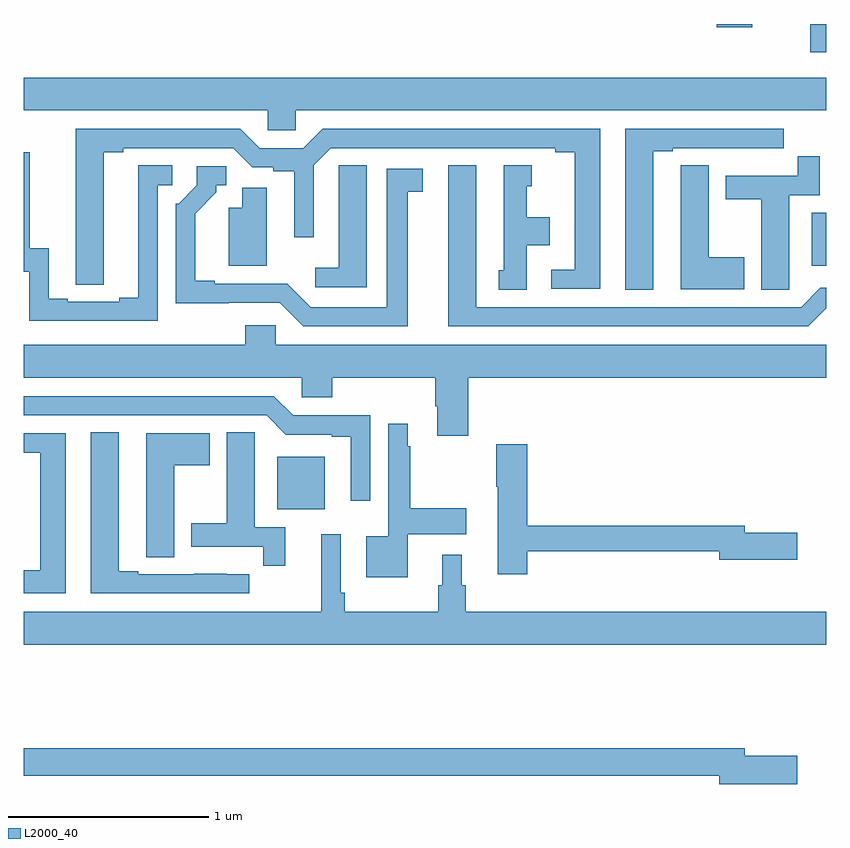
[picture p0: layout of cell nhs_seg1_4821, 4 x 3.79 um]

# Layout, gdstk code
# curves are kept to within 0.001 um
import gdstk
lib = gdstk.Library(unit=1e-6, precision=1e-09)
def R(c, l, rs):  # rectangles x0, y0, x1, y1
    for r in rs: c.add(gdstk.rectangle(r[:2], r[2:], *l))
def P(c, l, *ps):  # polygons
    for p in ps: c.add(gdstk.Polygon(p, *l))
L2000_40 = (2000, 40)

nhs_seg1_4821 = lib.new_cell('nhs_seg1_4821')
R(nhs_seg1_4821, L2000_40, [(374.264,513.779,374.5,514.042), (376.928,514.994,377,515.257), (376.921,516.057,377,516.199), (376.454,516.183,376.632,516.199)])
P(nhs_seg1_4821, L2000_40, [(374.355,515.768),(377,515.768),(377,515.932),(373,515.932),(373,515.768),(374.217,515.768),(374.217,515.67),(374.355,515.67)],
  [(375.874,515.676),(374.489,515.676),(374.393,515.58),(374.175,515.58),(374.079,515.676),(373.259,515.676),(373.26,514.9),(373.399,514.9),(373.399,515.56),(373.495,515.56),(373.495,515.58),(374.043,515.58),(374.139,515.484),(374.244,515.484),(374.244,515.464),(374.348,515.464),(374.348,515.136),(374.445,515.136),(374.445,515.496),(374.529,515.58),(375.65,515.58),(375.65,515.56),(375.746,515.56),(375.746,514.974),(375.63,514.974),(375.63,514.878),(375.874,514.878)],
  [(376.138,515.565),(376.234,515.565),(376.234,515.58),(376.51,515.58),(376.51,515.579),(376.676,515.579),(376.676,515.58),(376.789,515.58),(376.789,515.676),(375.998,515.676),(375.998,514.873),(376.138,514.873)],
  [(373.668,515.394),(373.741,515.394),(373.741,515.495),(373.571,515.495),(373.571,514.835),(373.475,514.835),(373.475,514.815),(373.219,514.815),(373.219,514.83),(373.123,514.83),(373.123,515.081),(373.029,515.081),(373.029,515.559),(373,515.559),(373,514.965),(373.026,514.965),(373.026,514.719),(373.668,514.719)],
  [(376.815,514.984),(376.816,514.984),(376.816,515.346),(376.967,515.346),(376.967,515.539),(376.858,515.539),(376.858,515.442),(376.499,515.442),(376.499,515.326),(376.676,515.326),(376.676,514.873),(376.815,514.873)],
  [(376.591,515.037),(376.414,515.037),(376.414,515.495),(376.275,515.495),(376.275,515.387),(376.274,515.387),(376.274,514.877),(376.591,514.877)],
  [(374.71,515.495),(374.571,515.495),(374.571,515.387),(374.57,515.387),(374.57,514.984),(374.454,514.984),(374.454,514.887),(374.71,514.887)],
  [(375.508,515.096),(375.622,515.096),(375.622,515.236),(375.508,515.236),(375.508,515.391),(375.532,515.391),(375.532,515.494),(375.392,515.494),(375.392,514.971),(375.368,514.971),(375.368,514.873),(375.508,514.873)],
  [(377,514.781),(377,514.884),(376.971,514.884),(376.875,514.788),(375.256,514.788),(375.256,515.494),(375.116,515.494),(375.116,514.692),(376.911,514.692)],
  [(374.914,515.362),(374.989,515.362),(374.989,515.478),(374.81,515.478),(374.81,514.788),(374.43,514.788),(374.313,514.905),(373.951,514.905),(373.951,514.918),(373.855,514.918),(373.855,515.254),(373.96,515.359),(373.96,515.394),(374.01,515.394),(374.01,515.49),(373.863,515.49),(373.863,515.394),(373.773,515.304),(373.758,515.304),(373.758,514.808),(374.277,514.809),(374.394,514.692),(374.914,514.692)],
  [(374.212,515.382),(374.09,515.382),(374.09,515.284),(374.021,515.284),(374.021,514.994),(374.212,514.994)],
  [(375.215,514.436),(377,514.436),(377,514.6),(374.256,514.6),(374.256,514.698),(374.105,514.698),(374.105,514.6),(373,514.6),(373,514.436),(374.385,514.436),(374.385,514.338),(374.537,514.338),(374.537,514.436),(375.05,514.436),(375.05,514.294),(375.062,514.294),(375.062,514.145),(375.215,514.145)],
  [(374.727,514.248),(374.343,514.248),(374.247,514.344),(373,514.344),(373,514.248),(374.211,514.248),(374.307,514.152),(374.534,514.152),(374.534,514.14),(374.63,514.14),(374.63,513.822),(374.727,513.822)],
  [(374.914,513.656),(375.205,513.656),(375.205,513.786),(374.926,513.786),(374.926,514.094),(374.914,514.094),(374.914,514.207),(374.817,514.207),(374.817,513.646),(374.708,513.646),(374.708,513.44),(374.914,513.44)],
  [(374.303,513.69),(374.152,513.69),(374.152,514.052),(374.151,514.052),(374.151,514.163),(374.012,514.163),(374.012,513.711),(373.835,513.711),(373.835,513.594),(374.194,513.594),(374.194,513.498),(374.303,513.498)],
  [(374.125,513.456),(374.012,513.456),(374.012,513.457),(373.846,513.457),(373.846,513.456),(373.57,513.456),(373.57,513.471),(373.474,513.471),(373.474,514.163),(373.334,514.163),(373.334,513.36),(374.125,513.36)],
  [(373.75,514),(373.927,514),(373.927,514.159),(373.61,514.159),(373.61,513.649),(373.611,513.649),(373.611,513.541),(373.75,513.541)],
  [(373.21,514.158),(373,514.158),(373,514.062),(373.082,514.062),(373.082,513.476),(373,513.476),(373,513.36),(373.21,513.36)],
  [(375.509,513.57),(376.466,513.57),(376.466,513.527),(376.855,513.527),(376.855,513.662),(376.594,513.662),(376.594,513.698),(375.509,513.698),(375.509,514.105),(375.355,514.105),(375.355,513.892),(375.362,513.892),(375.362,513.456),(375.509,513.456)],
  [(377,513.268),(375.203,513.268),(375.203,513.402),(375.184,513.402),(375.184,513.553),(375.086,513.553),(375.086,513.402),(375.067,513.402),(375.067,513.268),(374.6,513.268),(374.6,513.364),(374.58,513.364),(374.58,513.655),(374.483,513.655),(374.483,513.268),(373,513.268),(373,513.104),(377,513.104)],
  [(376.855,512.552),(376.594,512.552),(376.594,512.588),(373,512.588),(373,512.452),(376.466,512.452),(376.466,512.41),(376.855,512.41)])

lib.write_gds('nhs_seg1_4821.gds')
